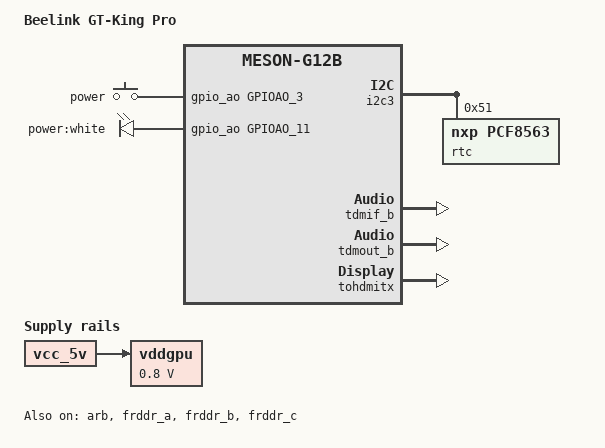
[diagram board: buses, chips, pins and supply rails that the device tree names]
// SPDX-License-Identifier: (GPL-2.0+ OR MIT)
/*
 * Copyright (c) 2019 BayLibre, SAS
 * Author: Neil Armstrong <narmstrong@baylibre.com>
 * Copyright (c) 2019 Christian Hewitt <christianshewitt@gmail.com>
 */

/dts-v1/;

#include "meson-g12b-w400.dtsi"
#include <dt-bindings/sound/meson-g12a-tohdmitx.h>

/ {
	compatible = "azw,gtking", "amlogic,g12b";
	model = "Beelink GT-King Pro";

	/delete-node/ opp-table-0;

	/delete-node/ opp-table-1;

	cpu_opp_table_0: opp-table-0 {
		compatible = "operating-points-v2";
		opp-shared;

		opp-100000000 {
			opp-hz = /bits/ 64 <100000000>;
			opp-microvolt = <731000>;
			status = "disabled";
		};

		opp-250000000 {
			opp-hz = /bits/ 64 <250000000>;
			opp-microvolt = <731000>;
			status = "disabled";
		};

		opp-500000000 {
			opp-hz = /bits/ 64 <500000000>;
			opp-microvolt = <731000>;
		};

		opp-750000000 {
			opp-hz = /bits/ 64 <750000000>;
			opp-microvolt = <731000>;
		};

		opp-1000000000 {
			opp-hz = /bits/ 64 <1000000000>;
			opp-microvolt = <731000>;
		};

		opp-1200000000 {
			opp-hz = /bits/ 64 <1200000000>;
			opp-microvolt = <751000>;
		};

		opp-1398000000 {
			opp-hz = /bits/ 64 <1398000000>;
			opp-microvolt = <781000>;
		};

		opp-1512000000 {
			opp-hz = /bits/ 64 <1512000000>;
			opp-microvolt = <821000>;
		};

		opp-1608000000 {
			opp-hz = /bits/ 64 <1608000000>;
			opp-microvolt = <871000>;
		};

		opp-1704000000 {
			opp-hz = /bits/ 64 <1704000000>;
			opp-microvolt = <921000>;
		};

		opp-1800000000 {
			opp-hz = /bits/ 64 <1800000000>;
			opp-microvolt = <941000>;
		};

		opp-1908000000 {
			opp-hz = /bits/ 64 <1908000000>;
			opp-microvolt = < 961000>;
		};

		opp-2016000000 {
			opp-hz = /bits/ 64 <2016000000>;
			opp-microvolt = < 981000>;
		};

		opp-2100000000 {
			opp-hz = /bits/ 64 <2100000000>;
			opp-microvolt = < 1011000>;
		};

		opp-2208000000 {
			opp-hz = /bits/ 64 <2208000000>;
			opp-microvolt = <1021000>;
		};
	};

	cpub_opp_table_1: opp-table-1 {
		compatible = "operating-points-v2";
		opp-shared;

		opp-100000000 {
			opp-hz = /bits/ 64 <100000000>;
			opp-microvolt = <731000>;
			status = "disabled";
		};

		opp-250000000 {
			opp-hz = /bits/ 64 <250000000>;
			opp-microvolt = <731000>;
			status = "disabled";
		};

		opp-500000000 {
			opp-hz = /bits/ 64 <500000000>;
			opp-microvolt = <731000>;
		};

		opp-750000000 {
			opp-hz = /bits/ 64 <750000000>;
			opp-microvolt = <731000>;
		};

		opp-1000000000 {
			opp-hz = /bits/ 64 <1000000000>;
			opp-microvolt = <731000>;
		};

		opp-1200000000 {
			opp-hz = /bits/ 64 <1200000000>;
			opp-microvolt = <761000>;
		};

		opp-1398000000 {
			opp-hz = /bits/ 64 <1398000000>;
			opp-microvolt = <801000>;
		};

		opp-1512000000 {
			opp-hz = /bits/ 64 <1512000000>;
			opp-microvolt = <831000>;
		};

		opp-1608000000 {
			opp-hz = /bits/ 64 <1608000000>;
			opp-microvolt = <861000>;
		};

		opp-1704000000 {
			opp-hz = /bits/ 64 <1704000000>;
			opp-microvolt = <891000>;
		};

		opp-1800000000 {
			opp-hz = /bits/ 64 <1800000000>;
			opp-microvolt = <921000>;
		};

		opp-1908000000 {
			opp-hz = /bits/ 64 <1908000000>;
			opp-microvolt = <951000>;
		};

		opp-2016000000 {
			opp-hz = /bits/ 64 <2016000000>;
			opp-microvolt = <981000>;
		};

		opp-2100000000 {
			opp-hz = /bits/ 64 <2100000000>;
			opp-microvolt = <1011000>;
		};

		opp-2208000000 {
			opp-hz = /bits/ 64 <2208000000>;
			opp-microvolt = <1021000>;
		};
	};

	aliases {
		rtc0 = &rtc;
		rtc1 = &vrtc;
	};

	gpio-keys-polled {
		compatible = "gpio-keys-polled";
		#address-cells = <1>;
		#size-cells = <0>;
		poll-interval = <100>;

		power-button {
			label = "power";
			linux,code = <KEY_POWER>;
			gpios = <&gpio_ao GPIOAO_3 GPIO_ACTIVE_HIGH>;
		};
	};

	leds {
		compatible = "gpio-leds";

		white {
			label = "power:white";
			gpios = <&gpio_ao GPIOAO_11 GPIO_ACTIVE_HIGH>;
			default-state = "on";
		};
	};

	sound {
		compatible = "amlogic,axg-sound-card";
		model = "G12B-GTKING-PRO";
		audio-aux-devs = <&tdmout_b>;
		audio-routing = "TDMOUT_B IN 0", "FRDDR_A OUT 1",
				"TDMOUT_B IN 1", "FRDDR_B OUT 1",
				"TDMOUT_B IN 2", "FRDDR_C OUT 1",
				"TDM_B Playback", "TDMOUT_B OUT";

		assigned-clocks = <&clkc CLKID_MPLL2>,
				  <&clkc CLKID_MPLL0>,
				  <&clkc CLKID_MPLL1>;
		assigned-clock-parents = <0>, <0>, <0>;
		assigned-clock-rates = <294912000>,
				       <270950400>,
				       <393216000>;
		status = "okay";

		dai-link-0 {
			sound-dai = <&frddr_a>;
		};

		dai-link-1 {
			sound-dai = <&frddr_b>;
		};

		dai-link-2 {
			sound-dai = <&frddr_c>;
		};

		/* 8ch hdmi interface */
		dai-link-3 {
			sound-dai = <&tdmif_b>;
			dai-format = "i2s";
			dai-tdm-slot-tx-mask-0 = <1 1>;
			dai-tdm-slot-tx-mask-1 = <1 1>;
			dai-tdm-slot-tx-mask-2 = <1 1>;
			dai-tdm-slot-tx-mask-3 = <1 1>;
			mclk-fs = <256>;

			codec {
				sound-dai = <&tohdmitx TOHDMITX_I2S_IN_B>;
			};
		};

		dai-link-4 {
			sound-dai = <&tohdmitx TOHDMITX_I2S_OUT>;

			codec {
				sound-dai = <&hdmi_tx>;
			};
		};
	};

	vddgpu: regulator-vddgpu {
		compatible = "regulator-fixed";
		regulator-name = "mali";
		//regulator-name = "VDDGPU";
		regulator-min-microvolt = <800000>;
		regulator-max-microvolt = <800000>;
		vin-supply = <&vcc_5v>;
		regulator-boot-on;
		regulator-always-on;
	};

};

&mali {
	mali-supply=<&vddgpu>;
};

&arb {
	status = "okay";
};

&clkc_audio {
	status = "okay";
};

&frddr_a {
	status = "okay";
};

&frddr_b {
	status = "okay";
};

&frddr_c {
	status = "okay";
};

&i2c3 {
	status = "okay";
	pinctrl-0 = <&i2c3_sda_a_pins>, <&i2c3_sck_a_pins>;
	pinctrl-names = "default";

	rtc: rtc@51 {
		compatible = "nxp,pcf8563";
		reg = <0x51>;
		wakeup-source;
	};
};

&tdmif_b {
	status = "okay";
};

&tdmout_b {
	status = "okay";
};

&tohdmitx {
	status = "okay";
};

&memory {
	reg = <0x0 0x0 0x0 0x80000000>;
};

/* SDIO */
&sd_emmc_a {
	max-frequency = <100000000>;
	sd-uhs-sdr50;
	//max-frequency = <200000000>;
	//sd-uhs-sdr104;
	//max-frequency = <50000000>;
	//sd-uhs-ddr50;
};

/* SD Card */
&sd_emmc_b {
	cap-sd-highspeed;
	max-frequency = <50000000>;
};

/* EMMC */
&sd_emmc_c {
	mmc-hs200-1_8v;
	max-frequency = <200000000>;	
};
